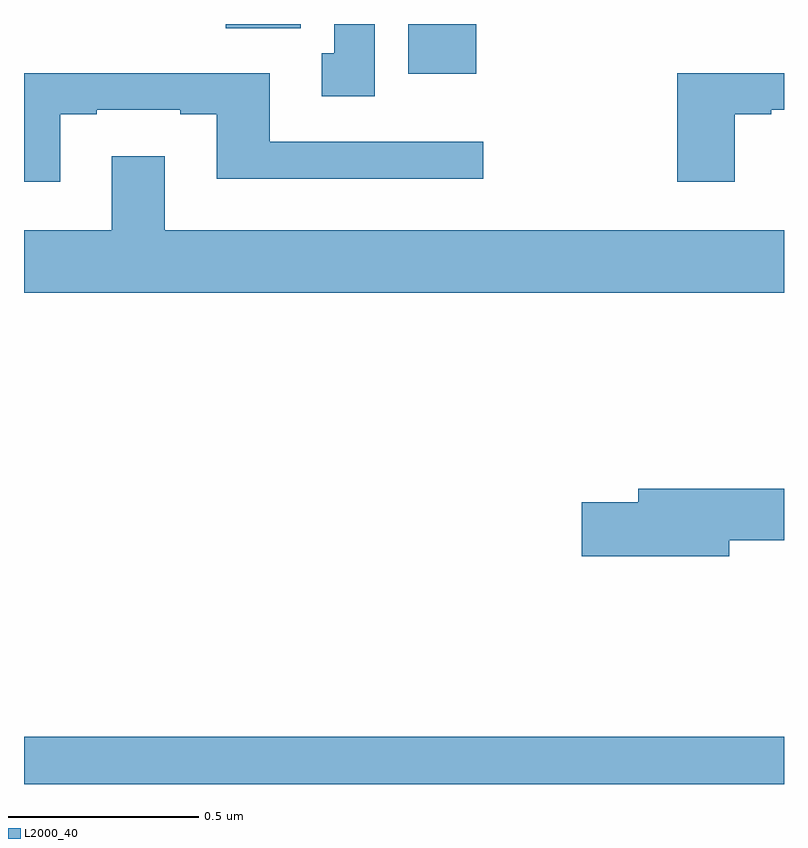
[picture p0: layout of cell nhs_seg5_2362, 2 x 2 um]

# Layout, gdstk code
import gdstk
lib = gdstk.Library(unit=1e-6, precision=1e-09)
def R(c, l, rs):  # rectangles x0, y0, x1, y1
    for r in rs: c.add(gdstk.rectangle(r[:2], r[2:], *l))
def P(c, l, *ps):  # polygons
    for p in ps: c.add(gdstk.Polygon(p, *l))
L2000_40 = (2000, 40)

nhs_seg5_2362 = lib.new_cell('nhs_seg5_2362')
R(nhs_seg5_2362, L2000_40, [(143,856.799,145,856.924), (144.011,858.668,144.19,858.799), (143.531,858.788,143.728,858.799)])
P(nhs_seg5_2362, L2000_40, [(143.923,858.799),(143.816,858.799),(143.816,858.722),(143.783,858.722),(143.783,858.609),(143.923,858.609)],
  [(143.095,858.561),(143.191,858.561),(143.191,858.573),(143.411,858.573),(143.411,858.561),(143.507,858.561),(143.507,858.392),(144.208,858.392),(144.208,858.489),(143.647,858.489),(143.647,858.67),(143,858.67),(143,858.384),(143.095,858.384)],
  [(144.871,858.561),(144.967,858.561),(144.967,858.573),(145,858.573),(145,858.67),(144.719,858.67),(144.719,858.384),(144.871,858.384)],
  [(145,858.256),(143.371,858.256),(143.371,858.451),(143.231,858.451),(143.231,858.256),(143,858.256),(143,858.092),(145,858.092)],
  [(144.856,857.44),(145,857.44),(145,857.576),(144.617,857.576),(144.617,857.54),(144.468,857.54),(144.468,857.398),(144.856,857.398)])

lib.write_gds('nhs_seg5_2362.gds')
